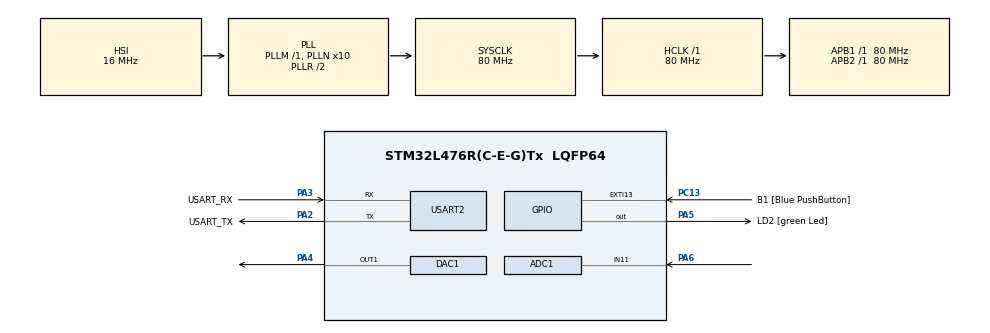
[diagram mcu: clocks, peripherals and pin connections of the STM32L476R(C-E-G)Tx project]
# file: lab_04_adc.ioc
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ADC1.Channel-1\#ChannelRegularConversion=ADC_CHANNEL_11
ADC1.NbrOfConversionFlag=1
ADC1.OffsetNumber-1\#ChannelRegularConversion=ADC_OFFSET_NONE
ADC1.Rank-1\#ChannelRegularConversion=1
ADC1.SamplingTime-1\#ChannelRegularConversion=ADC_SAMPLETIME_92CYCLES_5
ADC1.master=1
DAC1.DAC_Trigger-DAC_OUT1=DAC_TRIGGER_T6_TRGO
Mcu.Family=STM32L4
Mcu.Name=STM32L476R(C-E-G)Tx
Mcu.Package=LQFP64
NVIC.ADC1_2_IRQn=true\:0\:0\:false\:false\:true\:true\:true\:true
NVIC.EXTI15_10_IRQn=true\:0\:0\:false\:false\:true\:true\:true\:true
NVIC.PriorityGroup=NVIC_PRIORITYGROUP_4
NVIC.TIM6_DAC_IRQn=true\:0\:0\:false\:false\:true\:true\:true\:true
PA13\ (JTMS-SWDIO).GPIO_Label=TMS
PA13\ (JTMS-SWDIO).Mode=Serial_Wire
PA13\ (JTMS-SWDIO).Signal=SYS_JTMS-SWDIO
PA14\ (JTCK-SWCLK).GPIO_Label=TCK
PA14\ (JTCK-SWCLK).Mode=Serial_Wire
PA14\ (JTCK-SWCLK).Signal=SYS_JTCK-SWCLK
PA2.GPIO_Label=USART_TX
PA2.GPIO_Mode=GPIO_MODE_AF_PP
PA2.GPIO_PuPd=GPIO_NOPULL
PA2.GPIO_Speed=GPIO_SPEED_FREQ_VERY_HIGH
PA2.Mode=Asynchronous
PA2.Signal=USART2_TX
PA3.GPIO_Label=USART_RX
PA3.GPIO_Mode=GPIO_MODE_AF_PP
PA3.GPIO_PuPd=GPIO_NOPULL
PA3.GPIO_Speed=GPIO_SPEED_FREQ_VERY_HIGH
PA3.Mode=Asynchronous
PA3.Signal=USART2_RX
PA4.Signal=COMP_DAC11_group
PA5.GPIO_Label=LD2 [green Led]
PA5.GPIO_ModeDefaultOutputPP=GPIO_MODE_OUTPUT_PP
PA5.GPIO_PuPd=GPIO_NOPULL
PA5.GPIO_Speed=GPIO_SPEED_FREQ_LOW
PA5.Signal=GPIO_Output
PA6.Signal=ADCx_IN11
PB3\ (JTDO-TRACESWO).GPIO_Label=SWO
PB3\ (JTDO-TRACESWO).Signal=SYS_JTDO-SWO
PC13.GPIO_Label=B1 [Blue PushButton]
PC13.GPIO_ModeDefaultEXTI=GPIO_MODE_IT_FALLING
PC13.GPIO_PuPd=GPIO_NOPULL
PC13.Signal=GPXTI13
PC14-OSC32_IN\ (PC14).Mode=LSE-External-Oscillator
PC14-OSC32_IN\ (PC14).Signal=RCC_OSC32_IN
PC15-OSC32_OUT\ (PC15).Mode=LSE-External-Oscillator
PC15-OSC32_OUT\ (PC15).Signal=RCC_OSC32_OUT
PH0-OSC_IN\ (PH0).Signal=RCC_OSC_IN
PH1-OSC_OUT\ (PH1).Signal=RCC_OSC_OUT
ProjectManager.HeapSize=0x200
ProjectManager.StackSize=0x400
ProjectManager.TargetToolchain=CMake
RCC.ADCFreq_Value=64000000
RCC.AHBFreq_Value=80000000
RCC.APB1Freq_Value=80000000
RCC.APB1TimFreq_Value=80000000
RCC.APB2Freq_Value=80000000
RCC.APB2TimFreq_Value=80000000
RCC.CortexFreq_Value=80000000
RCC.HCLKFreq_Value=80000000
RCC.HSE_VALUE=8000000
RCC.HSI_VALUE=16000000
RCC.MSI_VALUE=4000000
RCC.PLLN=10
RCC.PLLSourceVirtual=RCC_PLLSOURCE_HSI
RCC.PREFETCH_ENABLE=1
RCC.SYSCLKFreq_VALUE=80000000
RCC.SYSCLKSource=RCC_SYSCLKSOURCE_PLLCLK
RCC.USBFreq_Value=64000000
RCC.VCOOutputFreq_Value=160000000
SH.ADCx_IN11.0=ADC1_IN11,IN11-Single-Ended
SH.COMP_DAC11_group.0=DAC1_OUT1,DAC_OUT1
TIM6.Period=4999
TIM6.Prescaler=15999
TIM6.TIM_MasterOutputTrigger=TIM_TRGO_UPDATE
USART2.VirtualMode-Asynchronous=VM_ASYNC
VP_TIM6_VS_ClockSourceINT.Mode=Enable_Timer
board=NUCLEO-L476RG

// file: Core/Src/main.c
/* USER CODE BEGIN Header */
/**
 ******************************************************************************
 * @file           : main.c
 * @brief          : Main program body
 ******************************************************************************
 * @attention
 *
 * Copyright (c) 2025 STMicroelectronics.
 * All rights reserved.
 *
 * This software is licensed under terms that can be found in the LICENSE file
 * in the root directory of this software component.
 * If no LICENSE file comes with this software, it is provided AS-IS.
 *
 ******************************************************************************
 */
/* USER CODE END Header */
#include "main.h"
#include "adc.h"
#include "dac.h"
#include "tim.h"
#include "usart.h"
#include "gpio.h"

/* USER CODE BEGIN Includes */
#include <stdio.h>
#include <string.h>
/* USER CODE END Includes */

/* USER CODE BEGIN PV */

uint16_t adc_value = 0;
uint8_t adc_flag = 0;
uint16_t dac_value = 0;
uint8_t voltage_index = 0;

 // Bufor dla DMA ADC
uint16_t adc_buffer[1];

// Zadane napięcia w woltach
const float target_voltages[] = {0.5f, 1.5f, 1.7f, 2.5f, 3.3f};
const uint8_t num_voltages = sizeof(target_voltages) / sizeof(target_voltages[0]);

/* USER CODE END PV */

void SystemClock_Config(void);

/* USER CODE BEGIN 0 */
int _write(int file, char *ptr, int len)
{
  HAL_UART_Transmit(&huart2, (uint8_t *)ptr, len, HAL_MAX_DELAY);
  return len;
}

// Konwersja napięcia na wartość surową DAC
uint16_t voltage_to_dac(float voltage)
{
  return (uint16_t)((voltage * 4095.0f) / 3.3f);
}

// Konwersja wartości surowej DAC na napięcie V
float convert_to_voltage(uint16_t value)
{
  return (float)value * (3.3f / 4095.0f);
}

void HAL_ADC_ConvCpltCallback(ADC_HandleTypeDef *hadc)
{
  if (hadc->Instance == ADC1)
  {
    adc_value = HAL_ADC_GetValue(hadc);
    adc_flag = 1;
  }
}

/* USER CODE END 0 */

int main(void)
{

  /* MCU Configuration--------------------------------------------------------*/

  /* Reset of all peripherals, Initializes the Flash interface and the Systick. */
  HAL_Init();

  /* Configure the system clock */
  SystemClock_Config();

  /* Initialize all configured peripherals */
  MX_GPIO_Init();
  MX_ADC1_Init();
  MX_USART2_UART_Init();
  MX_DAC1_Init();
  MX_TIM6_Init();
  /* USER CODE BEGIN 2 */

  /* USER CODE BEGIN 2 */

  // Inicjalizacja DAC z pierwszą wartością napięcia
  dac_value = voltage_to_dac(target_voltages[0]);
  HAL_DAC_SetValue(&hdac1, DAC_CHANNEL_1, DAC_ALIGN_8B_R, 0);
  HAL_DAC_Start_DMA(&hdac1, DAC_CHANNEL_1, (uint32_t*)&adc_buffer[0], 16, DAC_ALIGN_8B_R);

  // Start timera który będzie triggerował DAC
  HAL_TIM_Base_Start(&htim6);

  // Start ADC w trybie przerwań
  HAL_ADC_Start_IT(&hadc1);

  // Test UART
  const char *testMsg = "System starting...\r\n";
  if (HAL_UART_Transmit(&huart2, (uint8_t *)testMsg, strlen(testMsg), 1000) == HAL_OK)
  {
    // UART działa
  }
  else
  {
    // UART nie działa
    Error_Handler();
  }

  /* USER CODE END 2 */

  /* Infinite loop */
  /* USER CODE BEGIN WHILE */
  while (1)
  {
    if (adc_flag == 1)
    {
      // Obliczanie napięcia
      float dac_voltage = target_voltages[voltage_index];
      float adc_voltage = (float)adc_value * (3.3f / 4095.0f);

      // Format wartości float
      char voltage_str[20];
      snprintf(voltage_str, sizeof(voltage_str), "%.2f", dac_voltage);
      char adc_voltage_str[20];
      snprintf(adc_voltage_str, sizeof(adc_voltage_str), "%.2f", adc_voltage);

      // Format: nr indeksu;surową wartość DAC;DAC wyrażone w Voltach;surowa wartość ADC;pomiar ADC wyrażony w Voltach
      printf("275417;%d;%s;%d;%s\r\n", dac_value, voltage_str, adc_value, adc_voltage_str);

      // Następna wartość napięcia
      voltage_index = (voltage_index + 1) % num_voltages;
      dac_value = voltage_to_dac(target_voltages[voltage_index]);
      HAL_DAC_SetValue(&hdac1, DAC_CHANNEL_1, DAC_ALIGN_12B_R, dac_value);

      adc_flag = 0;
      HAL_ADC_Start_IT(&hadc1);
    }

    HAL_Delay(1000);

    /* USER CODE END WHILE */

  }
}

void SystemClock_Config(void)
{
  RCC_OscInitTypeDef RCC_OscInitStruct = {0};
  RCC_ClkInitTypeDef RCC_ClkInitStruct = {0};

  /** Configure the main internal regulator output voltage
   */
  if (HAL_PWREx_ControlVoltageScaling(PWR_REGULATOR_VOLTAGE_SCALE1) != HAL_OK)
  {
    Error_Handler();
  }

  /** Initializes the RCC Oscillators according to the specified parameters
   * in the RCC_OscInitTypeDef structure.
   */
  RCC_OscInitStruct.OscillatorType = RCC_OSCILLATORTYPE_HSI;
  RCC_OscInitStruct.HSIState = RCC_HSI_ON;
  RCC_OscInitStruct.HSICalibrationValue = RCC_HSICALIBRATION_DEFAULT;
  RCC_OscInitStruct.PLL.PLLState = RCC_PLL_ON;
  RCC_OscInitStruct.PLL.PLLSource = RCC_PLLSOURCE_HSI;
  RCC_OscInitStruct.PLL.PLLM = 1;
  RCC_OscInitStruct.PLL.PLLN = 10;
  RCC_OscInitStruct.PLL.PLLP = RCC_PLLP_DIV7;
  RCC_OscInitStruct.PLL.PLLQ = RCC_PLLQ_DIV2;
  RCC_OscInitStruct.PLL.PLLR = RCC_PLLR_DIV2;
  if (HAL_RCC_OscConfig(&RCC_OscInitStruct) != HAL_OK)
  {
    Error_Handler();
  }

  /** Initializes the CPU, AHB and APB buses clocks
   */
  RCC_ClkInitStruct.ClockType = RCC_CLOCKTYPE_HCLK | RCC_CLOCKTYPE_SYSCLK | RCC_CLOCKTYPE_PCLK1 | RCC_CLOCKTYPE_PCLK2;
  RCC_ClkInitStruct.SYSCLKSource = RCC_SYSCLKSOURCE_PLLCLK;
  RCC_ClkInitStruct.AHBCLKDivider = RCC_SYSCLK_DIV1;
  RCC_ClkInitStruct.APB1CLKDivider = RCC_HCLK_DIV1;
  RCC_ClkInitStruct.APB2CLKDivider = RCC_HCLK_DIV1;

  if (HAL_RCC_ClockConfig(&RCC_ClkInitStruct, FLASH_LATENCY_4) != HAL_OK)
  {
    Error_Handler();
  }
}

void Error_Handler(void)
{
  __disable_irq();
  while (1)
  {
  }
}
